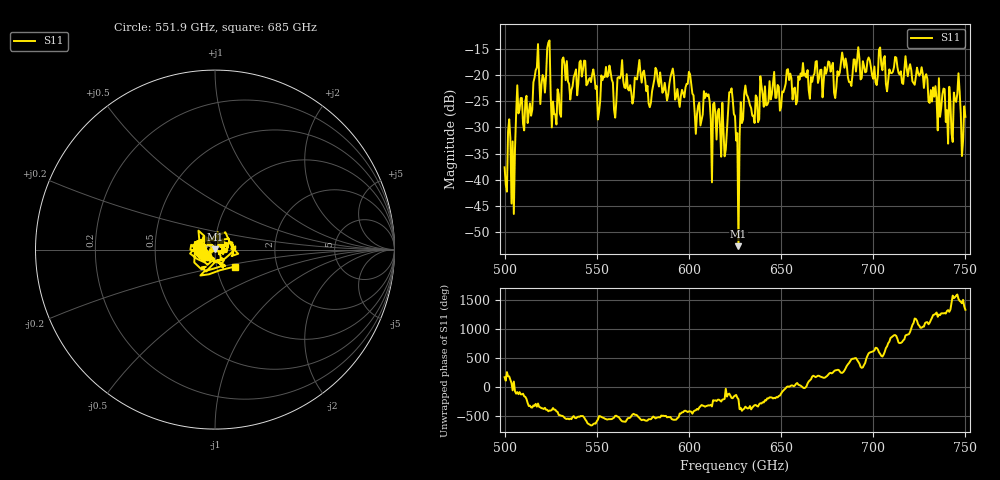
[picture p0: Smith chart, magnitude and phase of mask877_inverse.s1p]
!Created with skrf (http://scikit-rf.org).
# GHz S MA R 50.0
!freq magS11 angS11
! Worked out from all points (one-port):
!   401 points, 500 GHz to 750 GHz, reference 50 ohm
!   lowest |S11| = -52.8 dB at 626.9 GHz (marker M1), VSWR 1.00, Z = 49.8 + j0.116 ohm
!   |S11| at or under -10 dB: start of sweep to end of sweep
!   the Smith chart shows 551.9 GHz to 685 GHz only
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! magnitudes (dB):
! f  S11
! 500 GHz  -37.6
! 503.1 GHz  -32.1
! 505 GHz  -46.6
! 508.1 GHz  -26.6
! 513.8 GHz  -25.4
! 516.9 GHz  -19.0
! 520.6 GHz  -19.9
! 523.8 GHz  -13.7
! 526.9 GHz  -27.4
! 531.2 GHz  -17.0
! 542.5 GHz  -18.9
! 550.6 GHz  -28.5
! 562.5 GHz  -20.6
! 593.8 GHz  -22.6
! 600 GHz  -19.3
! 605 GHz  -25.8
! 609.4 GHz  -23.5
! 618.8 GHz  -30.7
! 622.5 GHz  -23.2
! 625 GHz  -27.8
! 626.9 GHz  -52.8
! 631.2 GHz  -23.7
! 656.2 GHz  -24.6
! 680 GHz  -22.2
! 683.8 GHz  -17.0
! 687.5 GHz  -21.3
! 718.8 GHz  -20.2
! 750 GHz  -28.0
